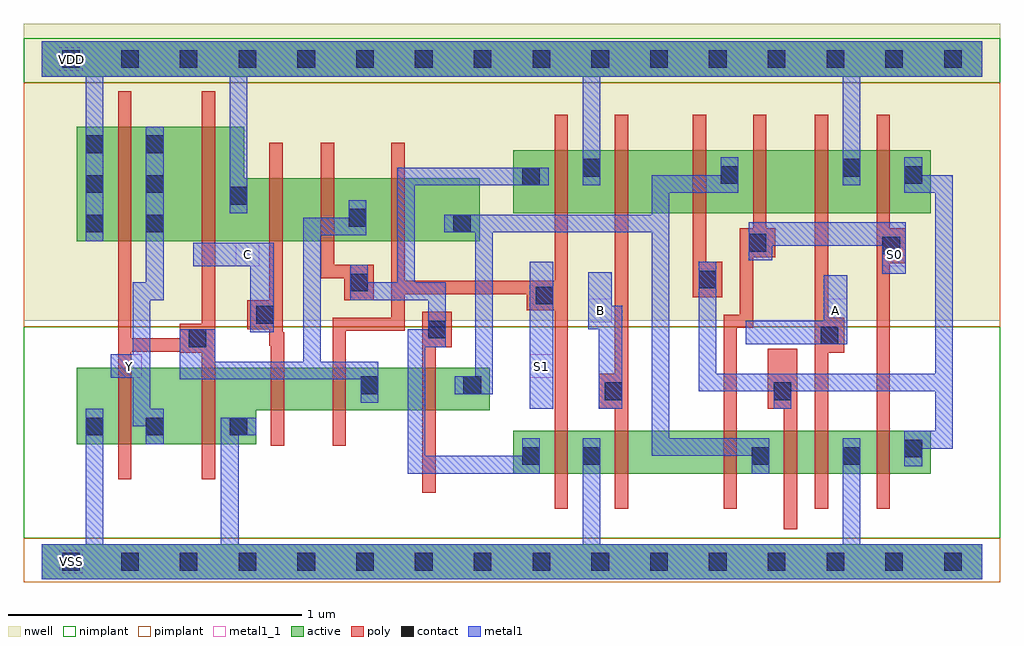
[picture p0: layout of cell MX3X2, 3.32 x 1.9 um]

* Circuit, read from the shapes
.subckt MX3X2 A B C S0 S1 VDD VSS Y
M1 Y n1 VSS VSS nfet w=0.26u l=0.045u m=2
M2 n2 C VSS VSS nfet w=0.145u l=0.045u
M3 n1 S1 n2 VSS nfet w=0.145u l=0.045u
M4 n3 n4 n1 VSS nfet w=0.145u l=0.045u
M5 VSS S1 n4 VSS nfet w=0.145u l=0.045u
M6 n5 B VSS VSS nfet w=0.145u l=0.045u
M7 n3 S0 n5 VSS nfet w=0.145u l=0.045u
M8 n6 n7 n3 VSS nfet w=0.145u l=0.045u
M9 VSS A n6 VSS nfet w=0.145u l=0.045u
M10 n7 S0 VSS VSS nfet w=0.145u l=0.045u
M11 Y n1 VDD VDD pfet w=0.39u l=0.045u m=2
M12 n8 C VDD VDD pfet w=0.215u l=0.045u
M13 n1 n4 n8 VDD pfet w=0.215u l=0.045u
M14 n3 S1 n1 VDD pfet w=0.215u l=0.045u
M15 VDD S1 n4 VDD pfet w=0.215u l=0.045u
M16 n9 B VDD VDD pfet w=0.215u l=0.045u
M17 n3 n7 n9 VDD pfet w=0.215u l=0.045u
M18 n10 S0 n3 VDD pfet w=0.215u l=0.045u
M19 VDD A n10 VDD pfet w=0.215u l=0.045u
M20 n7 S0 VDD VDD pfet w=0.215u l=0.045u
.ends

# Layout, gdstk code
import gdstk
lib = gdstk.Library(unit=1e-6, precision=5e-10)
def R(c, l, rs):  # rectangles x0, y0, x1, y1
    for r in rs: c.add(gdstk.rectangle(r[:2], r[2:], *l))
def A(c, l, x, y, w, h, nx, ny, dx, dy):  # array of equal rectangles
    R(c, l, [(x+i*dx, y+j*dy, x+i*dx+w, y+j*dy+h) for i in range(nx) for j in range(ny)])
def P(c, l, *ps):  # polygons
    for p in ps: c.add(gdstk.Polygon(p, *l))
active = (1, 0)
nwell = (2, 0)
poly = (3, 0)
nimplant = (4, 0)
pimplant = (5, 0)
contact = (6, 0)
metal1 = (7, 0)
metal1_1 = (7, 1)

mx3x2 = lib.new_cell('MX3X2')
R(mx3x2, active, [(0,-0.06,3.2,0.06), (1.605,0.3,3.025,0.445), (1.605,1.185,3.025,1.4), (0,1.65,3.2,1.77)])
P(mx3x2, active, [(0.12,1.48),(0.69,1.48),(0.69,1.305),(1.49,1.305),(1.49,1.09),(0.12,1.09)],
  [(0.12,0.66),(1.525,0.66),(1.525,0.515),(0.73,0.515),(0.73,0.4),(0.12,0.4)])
R(mx3x2, nwell, [(-0.06,0.82,3.26,1.83)])
P(mx3x2, poly, [(0.26,1.6),(0.305,1.6),(0.305,0.76),(0.47,0.76),(0.47,0.81),(0.545,0.81),(0.545,1.6),(0.59,1.6),(0.59,0.28),(0.545,0.28),(0.545,0.71),(0.47,0.71),(0.47,0.715),(0.305,0.715),(0.305,0.28),(0.26,0.28)],
  [(1.19,1.425),(1.235,1.425),(1.235,0.955),(1.745,0.955),(1.745,1.52),(1.79,1.52),(1.79,0.18),(1.745,0.18),(1.745,0.855),(1.65,0.855),(1.65,0.91),(1.235,0.91),(1.235,0.785),(1.035,0.785),(1.035,0.395),(0.99,0.395),(0.99,0.83),(1.19,0.83)],
  [(1.95,1.52),(1.995,1.52),(1.995,0.18),(1.95,0.18),(1.95,0.52),(1.895,0.52),(1.895,0.64),(1.95,0.64)],
  [(2.215,1.52),(2.26,1.52),(2.26,1.02),(2.315,1.02),(2.315,0.9),(2.215,0.9)],
  [(2.42,1.52),(2.465,1.52),(2.465,1.135),(2.495,1.135),(2.495,1.035),(2.42,1.035),(2.42,0.795),(2.365,0.795),(2.365,0.18),(2.32,0.18),(2.32,0.84),(2.375,0.84),(2.375,1.135),(2.42,1.135)],
  [(2.63,1.52),(2.675,1.52),(2.675,0.83),(2.73,0.83),(2.73,0.71),(2.675,0.71),(2.675,0.18),(2.63,0.18)],
  [(2.84,1.52),(2.885,1.52),(2.885,1.135),(2.94,1.135),(2.94,1.015),(2.885,1.015),(2.885,0.18),(2.84,0.18)],
  [(0.775,1.425),(0.82,1.425),(0.82,0.78),(0.825,0.78),(0.825,0.395),(0.78,0.395),(0.78,0.735),(0.775,0.735),(0.775,0.79),(0.7,0.79),(0.7,0.89),(0.775,0.89)],
  [(0.95,1.425),(0.995,1.425),(0.995,1.01),(1.13,1.01),(1.13,0.89),(1.03,0.89),(1.03,0.965),(0.95,0.965)],
  [(1.295,0.85),(1.395,0.85),(1.395,0.73),(1.34,0.73),(1.34,0.235),(1.295,0.235)],
  [(2.47,0.725),(2.57,0.725),(2.57,0.11),(2.525,0.11),(2.525,0.52),(2.47,0.52)])
R(mx3x2, nimplant, [(-0.06,0.08,3.26,0.8), (-0.06,1.63,3.26,1.78)])
R(mx3x2, pimplant, [(-0.06,-0.07,3.26,0.08), (-0.06,0.8,3.26,1.63)])
A(mx3x2, contact, 0.07, -0.03, 0.06, 0.06, 16, 2, 0.2, 1.71)
A(mx3x2, contact, 0.15, 1.12, 0.06, 0.06, 1, 3, 0, 0.135)
A(mx3x2, contact, 0.355, 1.12, 0.06, 0.06, 1, 3, 0, 0.135)
R(mx3x2, contact, [(1.635,0.33,1.695,0.39), (1.84,0.33,1.9,0.39), (2.415,0.33,2.475,0.39), (2.725,0.33,2.785,0.39), (2.935,0.355,2.995,0.415), (0.15,0.43,0.21,0.49), (0.355,0.43,0.415,0.49), (0.64,0.43,0.7,0.49), (1.915,0.55,1.975,0.61), (2.49,0.55,2.55,0.61), (1.085,0.57,1.145,0.63), (1.435,0.57,1.495,0.63), (0.5,0.73,0.56,0.79), (2.65,0.74,2.71,0.8), (1.315,0.76,1.375,0.82), (0.73,0.81,0.79,0.87), (1.68,0.875,1.74,0.935), (1.05,0.92,1.11,0.98), (2.235,0.93,2.295,0.99), (2.86,1.045,2.92,1.105), (2.405,1.055,2.465,1.115), (1.4,1.12,1.46,1.18), (1.045,1.14,1.105,1.2), (0.64,1.215,0.7,1.275), (1.635,1.28,1.695,1.34), (2.31,1.285,2.37,1.345), (2.935,1.285,2.995,1.345), (1.84,1.31,1.9,1.37), (2.725,1.31,2.785,1.37)])
R(mx3x2, metal1, [(1.66,0.52,1.74,1.02)])
P(mx3x2, metal1, [(0,1.77),(3.2,1.77),(3.2,1.65),(2.785,1.65),(2.785,1.28),(2.725,1.28),(2.725,1.65),(1.9,1.65),(1.9,1.28),(1.84,1.28),(1.84,1.65),(0.7,1.65),(0.7,1.185),(0.64,1.185),(0.64,1.65),(0.21,1.65),(0.21,1.09),(0.15,1.09),(0.15,1.65),(0,1.65)],
  [(0.355,1.48),(0.415,1.48),(0.415,0.89),(0.37,0.89),(0.37,0.52),(0.415,0.52),(0.415,0.4),(0.355,0.4),(0.355,0.46),(0.31,0.46),(0.31,0.625),(0.235,0.625),(0.235,0.705),(0.31,0.705),(0.31,0.95),(0.355,0.95)],
  [(1.21,1.34),(1.725,1.34),(1.725,1.28),(1.27,1.28),(1.27,0.95),(1.375,0.95),(1.375,0.73),(1.305,0.73),(1.305,0.36),(1.635,0.36),(1.635,0.42),(1.695,0.42),(1.695,0.3),(1.245,0.3),(1.245,0.79),(1.315,0.79),(1.315,0.89),(1.05,0.89),(1.05,1.01),(1.11,1.01),(1.11,0.95),(1.21,0.95)],
  [(2.31,1.375),(2.37,1.375),(2.37,1.255),(2.135,1.255),(2.135,0.42),(2.475,0.42),(2.475,0.3),(2.415,0.3),(2.415,0.36),(2.075,0.36),(2.075,1.12),(1.535,1.12),(1.535,0.57),(1.405,0.57),(1.405,0.63),(1.475,0.63),(1.475,1.12),(1.37,1.12),(1.37,1.18),(2.075,1.18),(2.075,1.315),(2.31,1.315)],
  [(1.045,1.23),(1.105,1.23),(1.105,1.11),(0.95,1.11),(0.95,0.68),(1.145,0.68),(1.145,0.54),(1.085,0.54),(1.085,0.62),(0.47,0.62),(0.47,0.79),(0.59,0.79),(0.59,0.68),(0.89,0.68),(0.89,1.17),(1.045,1.17)],
  [(0.515,1.085),(0.79,1.085),(0.79,0.78),(0.71,0.78),(0.71,1.005),(0.515,1.005)],
  [(2.935,1.375),(2.995,1.375),(2.995,1.315),(3.1,1.315),(3.1,0.385),(2.995,0.385),(2.995,0.325),(2.935,0.325),(2.935,0.445),(3.04,0.445),(3.04,0.58),(2.55,0.58),(2.55,0.52),(2.49,0.52),(2.49,0.58),(2.235,0.58),(2.235,1.02),(2.295,1.02),(2.295,0.64),(3.04,0.64),(3.04,1.255),(2.935,1.255)],
  [(2.405,1.155),(2.94,1.155),(2.94,0.98),(2.86,0.98),(2.86,1.075),(2.485,1.075),(2.485,1.025),(2.405,1.025)],
  [(0.15,0.52),(0.21,0.52),(0.21,0.06),(0.61,0.06),(0.61,0.49),(0.73,0.49),(0.73,0.43),(0.67,0.43),(0.67,0.06),(1.84,0.06),(1.84,0.42),(1.9,0.42),(1.9,0.06),(2.725,0.06),(2.725,0.42),(2.785,0.42),(2.785,0.06),(3.2,0.06),(3.2,-0.06),(0,-0.06),(0,0.06),(0.15,0.06)],
  [(1.86,0.985),(1.94,0.985),(1.94,0.87),(1.975,0.87),(1.975,0.52),(1.895,0.52),(1.895,0.79),(1.86,0.79)],
  [(2.66,0.975),(2.74,0.975),(2.74,0.74),(2.395,0.74),(2.395,0.82),(2.66,0.82)])
R(mx3x2, metal1_1, [(0.06,-0.04,0.14,0.04), (0.26,0.625,0.34,0.705), (1.66,0.625,1.74,0.705), (1.86,0.815,1.94,0.895), (2.66,0.815,2.74,0.895), (0.66,1.005,0.74,1.085), (2.86,1.005,2.94,1.085), (0.06,1.67,0.14,1.75)])
mx3x2.add(gdstk.Label('Y', (0.3,0.665), layer=7, texttype=1))
mx3x2.add(gdstk.Label('S0', (2.9,1.045), layer=7, texttype=1))
mx3x2.add(gdstk.Label('A', (2.7,0.855), layer=7, texttype=1))
mx3x2.add(gdstk.Label('B', (1.9,0.855), layer=7, texttype=1))
mx3x2.add(gdstk.Label('S1', (1.7,0.665), layer=7, texttype=1))
mx3x2.add(gdstk.Label('C', (0.7,1.045), layer=7, texttype=1))
mx3x2.add(gdstk.Label('VDD', (0.1,1.71), layer=7, texttype=1))
mx3x2.add(gdstk.Label('VSS', (0.1,0), layer=7, texttype=1))
mx3x2.add(gdstk.Label('MX3X2', (0,0), layer=63, texttype=0))

lib.write_gds('MX3X2.gds')
